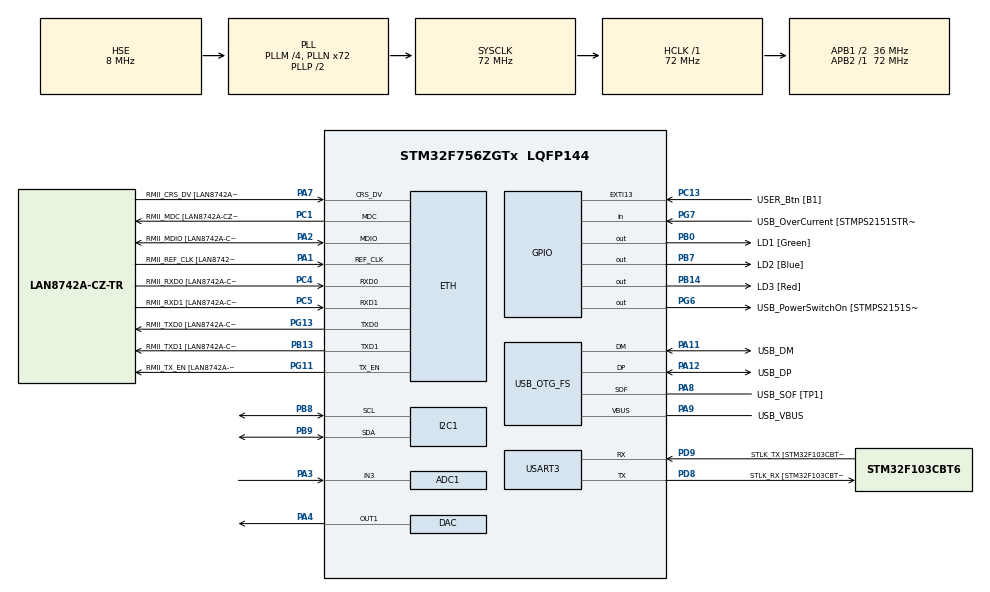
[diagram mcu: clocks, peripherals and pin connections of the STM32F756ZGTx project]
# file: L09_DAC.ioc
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ADC1.Channel-0\#ChannelRegularConversion=ADC_CHANNEL_3
ADC1.InjNumberOfConversion=0
ADC1.NbrOfConversionFlag=1
ADC1.Rank-0\#ChannelRegularConversion=1
ADC1.SamplingTime-0\#ChannelRegularConversion=ADC_SAMPLETIME_3CYCLES
ADC1.ScanConvMode=ADC_SCAN_DISABLE
ADC1.master=1
CORTEX_M7.default_mode_Activation=1
DAC.DAC_Trigger=DAC_TRIGGER_T6_TRGO
Dma.ADC1.0.Direction=DMA_PERIPH_TO_MEMORY
Dma.ADC1.0.FIFOMode=DMA_FIFOMODE_DISABLE
Dma.ADC1.0.Instance=DMA2_Stream0
Dma.ADC1.0.MemDataAlignment=DMA_MDATAALIGN_HALFWORD
Dma.ADC1.0.MemInc=DMA_MINC_ENABLE
Dma.ADC1.0.Mode=DMA_CIRCULAR
Dma.ADC1.0.PeriphDataAlignment=DMA_PDATAALIGN_HALFWORD
Dma.ADC1.0.PeriphInc=DMA_PINC_DISABLE
Dma.ADC1.0.Priority=DMA_PRIORITY_LOW
Dma.DAC1.1.Direction=DMA_MEMORY_TO_PERIPH
Dma.DAC1.1.FIFOMode=DMA_FIFOMODE_DISABLE
Dma.DAC1.1.Instance=DMA1_Stream5
Dma.DAC1.1.MemDataAlignment=DMA_MDATAALIGN_HALFWORD
Dma.DAC1.1.MemInc=DMA_MINC_ENABLE
Dma.DAC1.1.Mode=DMA_CIRCULAR
Dma.DAC1.1.PeriphDataAlignment=DMA_PDATAALIGN_HALFWORD
Dma.DAC1.1.PeriphInc=DMA_PINC_DISABLE
Dma.DAC1.1.Priority=DMA_PRIORITY_LOW
Dma.Request0=ADC1
Dma.Request1=DAC1
ETH.MediaInterface=HAL_ETH_RMII_MODE
ETH.PHY_Name=LAN8742A_PHY_ADDRESS
ETH.PHY_Value=0
ETH.PhyAddress=0
I2C1.Timing=0x00808CD2
Mcu.Family=STM32F7
Mcu.Name=STM32F756ZGTx
Mcu.Package=LQFP144
NVIC.ADC_IRQn=true\:0\:0\:false\:false\:true\:true\:true\:true
NVIC.DMA1_Stream5_IRQn=true\:0\:0\:false\:false\:true\:false\:true\:true
NVIC.DMA2_Stream0_IRQn=true\:0\:0\:false\:false\:true\:false\:true\:true
NVIC.PriorityGroup=NVIC_PRIORITYGROUP_4
NVIC.TIM6_DAC_IRQn=true\:0\:0\:false\:false\:true\:true\:true\:true
NVIC.USART3_IRQn=true\:0\:0\:false\:false\:true\:true\:true\:true
PA1.GPIO_Label=RMII_REF_CLK [LAN8742A-CZ-TR_REFCLK0]
PA1.Mode=RMII
PA1.Signal=ETH_REF_CLK
PA10.GPIO_Label=USB_ID
PA10.Signal=USB_OTG_FS_ID
PA11.GPIO_Label=USB_DM
PA11.Mode=Device_Only
PA11.Signal=USB_OTG_FS_DM
PA12.GPIO_Label=USB_DP
PA12.Mode=Device_Only
PA12.Signal=USB_OTG_FS_DP
PA13.GPIO_Label=TMS
PA13.Mode=Serial_Wire
PA13.Signal=SYS_JTMS-SWDIO
PA14.GPIO_Label=TCK
PA14.Mode=Serial_Wire
PA14.Signal=SYS_JTCK-SWCLK
PA2.GPIO_Label=RMII_MDIO [LAN8742A-CZ-TR_MDIO]
PA2.Mode=RMII
PA2.Signal=ETH_MDIO
PA3.Signal=ADCx_IN3
PA4.Signal=COMP_DAC1_group
PA7.GPIO_Label=RMII_CRS_DV [LAN8742A-CZ-TR_CRS_DV]
PA7.Mode=RMII
PA7.Signal=ETH_CRS_DV
PA8.GPIO_Label=USB_SOF [TP1]
PA8.Mode=Activate_SOF_FS
PA8.Signal=USB_OTG_FS_SOF
PA9.GPIO_Label=USB_VBUS
PA9.Mode=Activate_VBUS
PA9.Signal=USB_OTG_FS_VBUS
PB0.GPIO_Label=LD1 [Green]
PB0.Signal=GPIO_Output
PB13.GPIO_Label=RMII_TXD1 [LAN8742A-CZ-TR_TXD1]
PB13.Mode=RMII
PB13.Signal=ETH_TXD1
PB14.GPIO_Label=LD3 [Red]
PB14.Signal=GPIO_Output
PB3.GPIO_Label=SW0
PB3.Signal=SYS_JTDO-SWO
PB7.GPIO_Label=LD2 [Blue]
PB7.Signal=GPIO_Output
PB8.Mode=I2C
PB8.Signal=I2C1_SCL
PB9.Mode=I2C
PB9.Signal=I2C1_SDA
PC1.GPIO_Label=RMII_MDC [LAN8742A-CZ-TR_MDC]
PC1.Mode=RMII
PC1.Signal=ETH_MDC
PC13.GPIO_Label=USER_Btn [B1]
PC13.Signal=GPXTI13
PC14/OSC32_IN.Mode=LSE-External-Oscillator
PC14/OSC32_IN.Signal=RCC_OSC32_IN
PC15/OSC32_OUT.Mode=LSE-External-Oscillator
PC15/OSC32_OUT.Signal=RCC_OSC32_OUT
PC4.GPIO_Label=RMII_RXD0 [LAN8742A-CZ-TR_RXD0]
PC4.Mode=RMII
PC4.Signal=ETH_RXD0
PC5.GPIO_Label=RMII_RXD1 [LAN8742A-CZ-TR_RXD1]
PC5.Mode=RMII
PC5.Signal=ETH_RXD1
PD8.GPIO_Label=STLK_RX [STM32F103CBT6_PA3]
PD8.Mode=Asynchronous
PD8.Signal=USART3_TX
PD9.GPIO_Label=STLK_TX [STM32F103CBT6_PA2]
PD9.Mode=Asynchronous
PD9.Signal=USART3_RX
PG11.GPIO_Label=RMII_TX_EN [LAN8742A-CZ-TR_TXEN]
PG11.Mode=RMII
PG11.Signal=ETH_TX_EN
PG13.GPIO_Label=RMII_TXD0 [LAN8742A-CZ-TR_TXD0]
PG13.Mode=RMII
PG13.Signal=ETH_TXD0
PG6.GPIO_Label=USB_PowerSwitchOn [STMPS2151STR_EN]
PG6.Signal=GPIO_Output
PG7.GPIO_Label=USB_OverCurrent [STMPS2151STR_FAULT]
PG7.Signal=GPIO_Input
PH0/OSC_IN.GPIO_Label=MCO [STM32F103CBT6_PA8]
PH0/OSC_IN.Mode=HSE-External-Clock-Source
PH0/OSC_IN.Signal=RCC_OSC_IN
PH1/OSC_OUT.Mode=HSE-External-Clock-Source
PH1/OSC_OUT.Signal=RCC_OSC_OUT
ProjectManager.HeapSize=0x200
ProjectManager.StackSize=0x400
ProjectManager.TargetToolchain=CMake
RCC.48MHZClocksFreq_Value=24000000
RCC.AHBFreq_Value=72000000
RCC.APB1CLKDivider=RCC_HCLK_DIV2
RCC.APB1Freq_Value=36000000
RCC.APB1TimFreq_Value=72000000
RCC.APB2Freq_Value=72000000
RCC.APB2TimFreq_Value=72000000
RCC.CortexFreq_Value=72000000
RCC.HCLKFreq_Value=72000000
RCC.HSE_VALUE=8000000
RCC.HSI_VALUE=16000000
RCC.PLLM=4
RCC.PLLMUL=RCC_PLL_MUL9
RCC.PLLN=72
RCC.PLLQ=3
RCC.PRESCALERUSB=RCC_USBCLKSOURCE_PLL_DIV1_5
RCC.SYSCLKFreq_VALUE=72000000
RCC.SYSCLKSource=RCC_SYSCLKSOURCE_PLLCLK
RCC.SYSCLKSourceVirtual=RCC_SYSCLKSOURCE_PLLCLK
RCC.USBFreq_Value=48000000
RCC.VCOOutputFreq_Value=144000000
SH.ADCx_IN3.0=ADC1_IN3,IN3
SH.COMP_DAC1_group.0=DAC_OUT1,DAC_OUT1
TIM6.Period=59999
TIM6.Prescaler=5
TIM6.TIM_MasterOutputTrigger=TIM_TRGO_UPDATE
USART3.VirtualMode-Asynchronous=VM_ASYNC
USB_OTG_FS.VirtualMode=Device_Only
VP_TIM6_VS_ClockSourceINT.Mode=Enable_Timer
board=NUCLEO-F756ZG

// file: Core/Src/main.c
/* USER CODE BEGIN Header */
/**
  ******************************************************************************
  * @file           : main.c
  * @brief          : Main program body
  ******************************************************************************
  * @attention
  *
  * Copyright (c) 2026 STMicroelectronics.
  * All rights reserved.
  *
  * This software is licensed under terms that can be found in the LICENSE file
  * in the root directory of this software component.
  * If no LICENSE file comes with this software, it is provided AS-IS.
  *
  ******************************************************************************
  */
/* USER CODE END Header */
#include "main.h"
#include "adc.h"
#include "dac.h"
#include "dma.h"
#include "eth.h"
#include "i2c.h"
#include "tim.h"
#include "usart.h"
#include "usb_otg.h"
#include "gpio.h"

/* USER CODE BEGIN Includes */
#include "stdio.h"
#include "stdlib.h"
#include "string.h"
#include "math.h"
#include "stdbool.h"
/* USER CODE END Includes */

/* USER CODE BEGIN PV */
volatile uint32_t adcValue = 0;
volatile uint32_t adcVoltage = 0; // Variable to store the converted voltage in mV
volatile uint32_t time = 0;
volatile uint32_t amplitude = 1000; // Amplitude for the sine wave in mV
uint8_t plotMsg[32]; // Variable to store the DAC value
uint8_t rxByte; // Variable to store the received byte
uint8_t rxCommand[32]; // Buffer to store the received command
uint8_t responseMsg[64]; // Buffer to store messages for UART transmission
volatile uint8_t rxLength = 0; // Length of the received command
volatile bool commandReady = false; // Flag to indicate a complete command is ready
volatile bool rxDiscard = false; // Flag to indicate if the next bytes should be discarded
/* USER CODE END PV */

void SystemClock_Config(void);
static void MPU_Config(void);
/* USER CODE BEGIN PFP */
void DAC_SetVoltage(uint32_t voltage) {
  if (voltage > 3300) {
    voltage = 3300; // Limit to 3.3V
  }
  uint32_t dacValue = (voltage * 4095) / 3300; // Convert mV to DAC value
  HAL_DAC_SetValue(&hdac, DAC_CHANNEL_1, DAC_ALIGN_12B_R, dacValue);
  HAL_DAC_Start(&hdac, DAC_CHANNEL_1);
}

void DAC_GenerateSine(uint32_t time, uint32_t Amplitude) {
  if (Amplitude > 1500) {
    Amplitude = 1500; // Limit amplitude to avoid exceeding DAC range
  }
  uint32_t voltage = (Amplitude * sinf(2 * M_PI * time / 1000)) + 1500; // Generate a sine wave voltage
  uint32_t dacValue = (voltage * 4095) / 3300; // Convert mV to DAC value
  HAL_DAC_SetValue(&hdac, DAC_CHANNEL_1, DAC_ALIGN_12B_R, dacValue);
}

void HAL_TIM_PeriodElapsedCallback(TIM_HandleTypeDef *htim) {
  if (htim->Instance == TIM6) {
    // Timer 6 interrupt callback
    time += 5; // Increment time by 5 ms
    if (time >= 1000) {
      time = 0; // Reset time after 1 second
    }
    DAC_GenerateSine(time, amplitude); // Generate a sine wave with the specified amplitude
  }
}

void HandleCommand(uint8_t *command) {
  char *ptr = (char*)command;
  while (*ptr == ' ') {
    ptr++; // Pomiń ewentualne spacje na początku
  }

  if (strncmp(ptr, "set_amp", 7) == 0) {
    ptr += 7;
    while (*ptr == ' ' || *ptr == '=') {
      ptr++; // Pomiń spacje oraz znak '='
    }

    if (*ptr == '\0') {
      int len = snprintf((char*)responseMsg, sizeof(responseMsg), "Error: Missing amplitude value\r\n");
      HAL_UART_Transmit(&huart3, responseMsg, len, 100);
      return;
    }

    int newAmplitude = atoi(ptr);
    if (newAmplitude >= 0 && newAmplitude <= 1500) {
      amplitude = (uint32_t)newAmplitude;
      int len = snprintf((char*)responseMsg, sizeof(responseMsg), "Amplitude set to: %lu mV\r\n", amplitude);
      HAL_UART_Transmit(&huart3, responseMsg, len, 100);
    } else {
      int len = snprintf((char*)responseMsg, sizeof(responseMsg), "Error: Amplitude must be 0..1500 mV\r\n");
      HAL_UART_Transmit(&huart3, responseMsg, len, 100);
    }
  } else {
    int len = snprintf((char*)responseMsg, sizeof(responseMsg), "Error: Unknown command\r\n");
    HAL_UART_Transmit(&huart3, responseMsg, len, 100);
  }
}

void ReceiveByByte(UART_HandleTypeDef *huart) {
  char receivedChar = (char)rxByte; // Convert the received byte to a character
  if(receivedChar == ';') // Check for command termination
  {
    rxCommand[rxLength] = '\0'; // Add \0 so it will be compatible with fucntions that expect C string
    commandReady = true; // Set the flag to indicate a complete command is ready
    rxLength = 0; // Reset the length for the next command
    rxDiscard = false; // Reset discard flag
  }
  else if(receivedChar == '\r' || receivedChar == '\n') // Ignore carriage return and newline characters
  {

  }
  else if(rxLength < sizeof(rxCommand) - 1) // Check if there's space in the buffer
  {
    if(!rxDiscard)
    {
      rxCommand[rxLength] = receivedChar; // Store the character
      rxLength++; // Increment index of array iwth our command
    }
  }
  else
  {
    rxDiscard = true; // If buffer is full, discard next bytes
  }
  HAL_UART_Receive_IT(&huart3, &rxByte, 1); // Continue receiving the next byte
}

void HAL_UART_RxCpltCallback(UART_HandleTypeDef *huart) {
  if(huart->Instance == USART3)
  {
    ReceiveByByte(huart); // Call the function to handle the received byte
  }
}
/* USER CODE END PFP */

int main(void)
{

  /* MPU Configuration--------------------------------------------------------*/
  MPU_Config();

  /* MCU Configuration--------------------------------------------------------*/

  /* Reset of all peripherals, Initializes the Flash interface and the Systick. */
  HAL_Init();

  /* Configure the system clock */
  SystemClock_Config();

  /* Initialize all configured peripherals */
  MX_GPIO_Init();
  MX_DMA_Init();
  MX_ETH_Init();
  MX_I2C1_Init();
  MX_USART3_UART_Init();
  MX_USB_OTG_FS_PCD_Init();
  MX_ADC1_Init();
  MX_DAC_Init();
  MX_TIM6_Init();
  /* USER CODE BEGIN 2 */
  //DAC_SetVoltage(1650); // Set DAC output to 1.65V (midpoint of 0-3.3V range)
  HAL_TIM_Base_Start_IT(&htim6); // Start the timer for DAC triggering
  HAL_DAC_Start(&hdac, DAC_CHANNEL_1); // Start the DAC
  HAL_UART_Receive_IT(&huart3, &rxByte, 1); // Start receiving the first byte via UART
  /* USER CODE END 2 */

  /* Infinite loop */
  /* USER CODE BEGIN WHILE */
  while (1)
  {
    HAL_ADC_Start(&hadc1);
    if (HAL_ADC_PollForConversion(&hadc1, HAL_MAX_DELAY) == HAL_OK) {
      adcValue = HAL_ADC_GetValue(&hadc1);
      // Convert ADC value to voltage in mV
      adcVoltage = (adcValue * 3300) / 4095;
      // Here you can use the voltage value as needed
      int len = snprintf((char*)plotMsg, sizeof(plotMsg), ">ADC_Voltage:%lu mV\r\n", adcVoltage);
      HAL_UART_Transmit(&huart3, plotMsg, len, HAL_MAX_DELAY); //
    }
    if (commandReady) {
      commandReady = false; // Reset the flag
      HandleCommand(rxCommand); // Process the received command
    }
    HAL_Delay(5); // Delay for 5 ms before the next reading
    /* USER CODE END WHILE */

  }
}

void SystemClock_Config(void)
{
  RCC_OscInitTypeDef RCC_OscInitStruct = {0};
  RCC_ClkInitTypeDef RCC_ClkInitStruct = {0};

  /** Configure LSE Drive Capability
  */
  HAL_PWR_EnableBkUpAccess();

  /** Configure the main internal regulator output voltage
  */
  __HAL_RCC_PWR_CLK_ENABLE();
  __HAL_PWR_VOLTAGESCALING_CONFIG(PWR_REGULATOR_VOLTAGE_SCALE3);

  /** Initializes the RCC Oscillators according to the specified parameters
  * in the RCC_OscInitTypeDef structure.
  */
  RCC_OscInitStruct.OscillatorType = RCC_OSCILLATORTYPE_HSE;
  RCC_OscInitStruct.HSEState = RCC_HSE_BYPASS;
  RCC_OscInitStruct.PLL.PLLState = RCC_PLL_ON;
  RCC_OscInitStruct.PLL.PLLSource = RCC_PLLSOURCE_HSE;
  RCC_OscInitStruct.PLL.PLLM = 4;
  RCC_OscInitStruct.PLL.PLLN = 72;
  RCC_OscInitStruct.PLL.PLLP = RCC_PLLP_DIV2;
  RCC_OscInitStruct.PLL.PLLQ = 3;
  if (HAL_RCC_OscConfig(&RCC_OscInitStruct) != HAL_OK)
  {
    Error_Handler();
  }

  /** Initializes the CPU, AHB and APB buses clocks
  */
  RCC_ClkInitStruct.ClockType = RCC_CLOCKTYPE_HCLK|RCC_CLOCKTYPE_SYSCLK
                              |RCC_CLOCKTYPE_PCLK1|RCC_CLOCKTYPE_PCLK2;
  RCC_ClkInitStruct.SYSCLKSource = RCC_SYSCLKSOURCE_PLLCLK;
  RCC_ClkInitStruct.AHBCLKDivider = RCC_SYSCLK_DIV1;
  RCC_ClkInitStruct.APB1CLKDivider = RCC_HCLK_DIV2;
  RCC_ClkInitStruct.APB2CLKDivider = RCC_HCLK_DIV1;

  if (HAL_RCC_ClockConfig(&RCC_ClkInitStruct, FLASH_LATENCY_2) != HAL_OK)
  {
    Error_Handler();
  }
}

 /* MPU Configuration */

void MPU_Config(void)
{
  MPU_Region_InitTypeDef MPU_InitStruct = {0};

  /* Disables the MPU */
  HAL_MPU_Disable();

  /** Initializes and configures the Region and the memory to be protected
  */
  MPU_InitStruct.Enable = MPU_REGION_ENABLE;
  MPU_InitStruct.Number = MPU_REGION_NUMBER0;
  MPU_InitStruct.BaseAddress = 0x0;
  MPU_InitStruct.Size = MPU_REGION_SIZE_4GB;
  MPU_InitStruct.SubRegionDisable = 0x87;
  MPU_InitStruct.TypeExtField = MPU_TEX_LEVEL0;
  MPU_InitStruct.AccessPermission = MPU_REGION_NO_ACCESS;
  MPU_InitStruct.DisableExec = MPU_INSTRUCTION_ACCESS_DISABLE;
  MPU_InitStruct.IsShareable = MPU_ACCESS_SHAREABLE;
  MPU_InitStruct.IsCacheable = MPU_ACCESS_NOT_CACHEABLE;
  MPU_InitStruct.IsBufferable = MPU_ACCESS_NOT_BUFFERABLE;

  HAL_MPU_ConfigRegion(&MPU_InitStruct);
  /* Enables the MPU */
  HAL_MPU_Enable(MPU_PRIVILEGED_DEFAULT);

}

void Error_Handler(void)
{
  __disable_irq();
  while (1)
  {
  }
}
